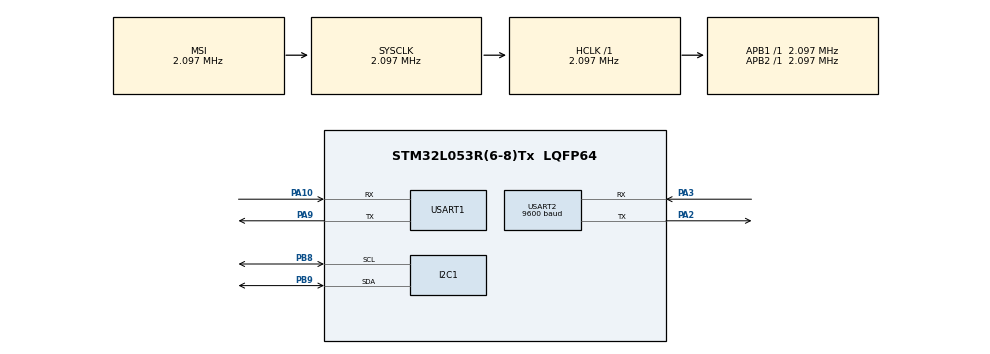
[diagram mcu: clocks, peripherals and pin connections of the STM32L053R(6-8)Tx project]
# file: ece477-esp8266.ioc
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Mcu.Family=STM32L0
RCC.MSI_VALUE=2097000
Dma.USART1_RX.0.PeriphDataAlignment=DMA_PDATAALIGN_BYTE
PA10.Mode=Asynchronous
USART2.BaudRate=9600
ProjectManager.StackSize=0x400
USART1.VirtualMode-Asynchronous=VM_ASYNC
PA3.Mode=Asynchronous
RCC.HSI16_VALUE=16000000
PA9.Mode=Asynchronous
ProjectManager.TargetToolchain=STM32CubeIDE
Dma.USART1_RX.0.Direction=DMA_PERIPH_TO_MEMORY
PB9.Mode=I2C
RCC.APB2TimFreq_Value=2097000
PA9.Signal=USART1_TX
RCC.LSE_VALUE=32768
RCC.AHBFreq_Value=2097000
Dma.USART1_RX.0.PeriphInc=DMA_PINC_DISABLE
Dma.USART1_RX.0.Priority=DMA_PRIORITY_LOW
RCC.HSE_VALUE=8000000
board=custom
USART2.VirtualMode-Asynchronous=VM_ASYNC
RCC.VCOOutputFreq_Value=48000000
RCC.APB2Freq_Value=2097000
Dma.USART1_RX.0.MemDataAlignment=DMA_MDATAALIGN_BYTE
Dma.USART1_RX.0.MemInc=DMA_MINC_ENABLE
Mcu.Name=STM32L053R(6-8)Tx
PA2.Signal=USART2_TX
RCC.SYSCLKFreq_VALUE=2097000
Mcu.Package=LQFP64
PB9.Signal=I2C1_SDA
PA10.Signal=USART1_RX
ProjectManager.HeapSize=0x200
RCC.HSI_VALUE=16000000
PB8.Mode=I2C
NVIC.DMA1_Channel2_3_IRQn=true\:0\:0\:false\:false\:true\:false\:true
RCC.APB1TimFreq_Value=2097000
PA2.Mode=Asynchronous
PB8.Signal=I2C1_SCL
Dma.USART1_RX.0.Mode=DMA_CIRCULAR
RCC.APB1Freq_Value=2097000
Dma.Request0=USART1_RX
Dma.USART1_RX.0.Instance=DMA1_Channel3
RCC.HSI48_VALUE=48000000
PA3.Signal=USART2_RX

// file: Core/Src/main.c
/* USER CODE BEGIN Header */
/**
  ******************************************************************************
  * @file           : main.c
  * @brief          : Main program body
  ******************************************************************************
  * @attention
  *
  * <h2><center>&copy; Copyright (c) 2021 STMicroelectronics.
  * All rights reserved.</center></h2>
  *
  * This software component is licensed by ST under BSD 3-Clause license,
  * the "License"; You may not use this file except in compliance with the
  * License. You may obtain a copy of the License at:
  *                        opensource.org/licenses/BSD-3-Clause
  *
  ******************************************************************************
  */
/* USER CODE END Header */
#include "main.h"
#include "dma.h"
#include "i2c.h"
#include "usart.h"
#include "gpio.h"

/* USER CODE BEGIN Includes */
#include "serial_print.h"
#include "at_commands.h"
/* USER CODE END Includes */

/* USER CODE BEGIN PV */
unsigned char UART1_rxBuffer[600] = {0};
/* USER CODE END PV */

void SystemClock_Config(void);

int main(void)
{

  /* MCU Configuration--------------------------------------------------------*/

  /* Reset of all peripherals, Initializes the Flash interface and the Systick. */
  HAL_Init();

  /* Configure the system clock */
  SystemClock_Config();

  /* Initialize all configured peripherals */
  MX_GPIO_Init();
  MX_DMA_Init();
  MX_I2C1_Init();
  MX_USART1_UART_Init();
  MX_USART2_UART_Init();
  /* USER CODE BEGIN 2 */
  HAL_UART_Receive_DMA(&huart1, UART1_rxBuffer, 600);

  serial_select(DEBUG_PRINT);
  serial_clear();
  serial_println("Hello world, this is a test of the new serial print functions!");
  serial_select(WIFI);
  serial_println("AT");
  HAL_Delay(50);
//    serial_printf("AT\n");
  if (setup_wifi("ASUS", "rickroll362") == AT_FAIL){
    // try again
  }
  if (sent_freshbyte_data(5000, 5000, 50000) == AT_FAIL){
    // try again
  }

  unsigned char * prediction_days = malloc(sizeof(char) * 15);
  prediction_days = receive_prediction(prediction_days);

  if (HAL_UART_Transmit(&huart2, "Predicted Days: ", sizeof("Predicted Days: "), 100) != HAL_OK){
      serial_println("Error! Predicted Days");
    }

  if (HAL_UART_Transmit(&huart2, prediction_days, sizeof(prediction_days), 100)!= HAL_OK){
    serial_println("Error! Printing string");
  }

  serial_select(DEBUG_PRINT);
  serial_clear();
  serial_printf("Predicted Days: ");
  serial_println(prediction_days);
  serial_println("Did you see that? I was chatting with the wi-fi module for a little bit ;)");

  /* USER CODE END 2 */

  /* Infinite loop */
  while (1)
  {

  }
}

void SystemClock_Config(void)
{
  RCC_OscInitTypeDef RCC_OscInitStruct = {0};
  RCC_ClkInitTypeDef RCC_ClkInitStruct = {0};
  RCC_PeriphCLKInitTypeDef PeriphClkInit = {0};

  /** Configure the main internal regulator output voltage
  */
  __HAL_PWR_VOLTAGESCALING_CONFIG(PWR_REGULATOR_VOLTAGE_SCALE1);
  /** Initializes the RCC Oscillators according to the specified parameters
  * in the RCC_OscInitTypeDef structure.
  */
  RCC_OscInitStruct.OscillatorType = RCC_OSCILLATORTYPE_MSI;
  RCC_OscInitStruct.MSIState = RCC_MSI_ON;
  RCC_OscInitStruct.MSICalibrationValue = 0;
  RCC_OscInitStruct.MSIClockRange = RCC_MSIRANGE_5;
  RCC_OscInitStruct.PLL.PLLState = RCC_PLL_NONE;
  if (HAL_RCC_OscConfig(&RCC_OscInitStruct) != HAL_OK)
  {
    Error_Handler();
  }
  /** Initializes the CPU, AHB and APB buses clocks
  */
  RCC_ClkInitStruct.ClockType = RCC_CLOCKTYPE_HCLK|RCC_CLOCKTYPE_SYSCLK
                              |RCC_CLOCKTYPE_PCLK1|RCC_CLOCKTYPE_PCLK2;
  RCC_ClkInitStruct.SYSCLKSource = RCC_SYSCLKSOURCE_MSI;
  RCC_ClkInitStruct.AHBCLKDivider = RCC_SYSCLK_DIV1;
  RCC_ClkInitStruct.APB1CLKDivider = RCC_HCLK_DIV1;
  RCC_ClkInitStruct.APB2CLKDivider = RCC_HCLK_DIV1;

  if (HAL_RCC_ClockConfig(&RCC_ClkInitStruct, FLASH_LATENCY_0) != HAL_OK)
  {
    Error_Handler();
  }
  PeriphClkInit.PeriphClockSelection = RCC_PERIPHCLK_USART1|RCC_PERIPHCLK_USART2
                              |RCC_PERIPHCLK_I2C1;
  PeriphClkInit.Usart1ClockSelection = RCC_USART1CLKSOURCE_PCLK2;
  PeriphClkInit.Usart2ClockSelection = RCC_USART2CLKSOURCE_PCLK1;
  PeriphClkInit.I2c1ClockSelection = RCC_I2C1CLKSOURCE_PCLK1;
  if (HAL_RCCEx_PeriphCLKConfig(&PeriphClkInit) != HAL_OK)
  {
    Error_Handler();
  }
}

/* USER CODE BEGIN 4 */

void HAL_UART_RxCpltCallback(UART_HandleTypeDef *huart)
{
  //once buffer is full - restart
  HAL_UART_Receive_DMA(&huart1, UART1_rxBuffer, 600);
}

/* USER CODE END 4 */

void Error_Handler(void)
{
  __disable_irq();
  while (1)
  {
  }
}

/************************ (C) COPYRIGHT STMicroelectronics *****END OF FILE****/
